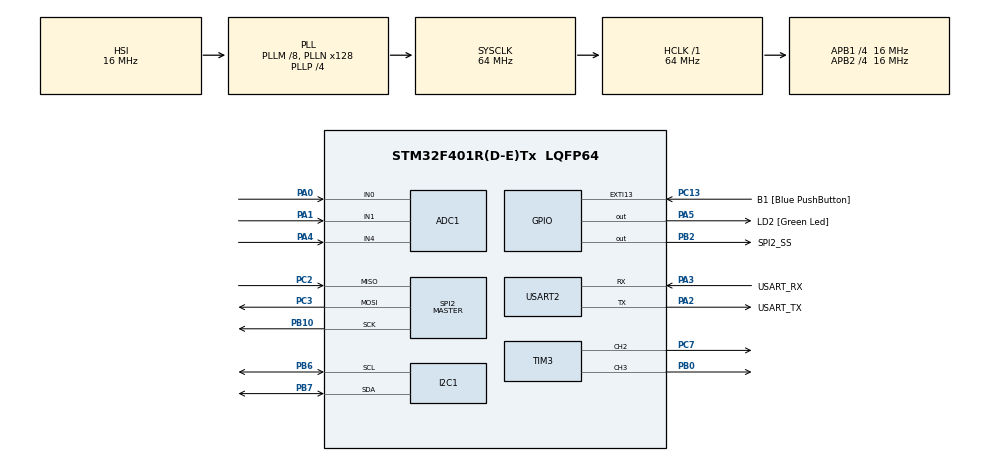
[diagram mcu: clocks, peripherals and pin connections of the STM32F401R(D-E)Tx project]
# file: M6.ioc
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ADC1.Channel-0\#ChannelRegularConversion=ADC_CHANNEL_0
ADC1.Channel-1\#ChannelRegularConversion=ADC_CHANNEL_1
ADC1.Channel-2\#ChannelRegularConversion=ADC_CHANNEL_4
ADC1.Channel-3\#ChannelRegularConversion=ADC_CHANNEL_TEMPSENSOR
ADC1.Channel-4\#ChannelRegularConversion=ADC_CHANNEL_VREFINT
ADC1.ContinuousConvMode=DISABLE
ADC1.InjNumberOfConversion=0
ADC1.NbrOfConversion=5
ADC1.NbrOfConversionFlag=1
ADC1.Rank-0\#ChannelRegularConversion=1
ADC1.Rank-1\#ChannelRegularConversion=2
ADC1.Rank-2\#ChannelRegularConversion=3
ADC1.Rank-3\#ChannelRegularConversion=4
ADC1.Rank-4\#ChannelRegularConversion=5
ADC1.SamplingTime-0\#ChannelRegularConversion=ADC_SAMPLETIME_3CYCLES
ADC1.SamplingTime-1\#ChannelRegularConversion=ADC_SAMPLETIME_3CYCLES
ADC1.SamplingTime-2\#ChannelRegularConversion=ADC_SAMPLETIME_3CYCLES
ADC1.SamplingTime-3\#ChannelRegularConversion=ADC_SAMPLETIME_3CYCLES
ADC1.SamplingTime-4\#ChannelRegularConversion=ADC_SAMPLETIME_3CYCLES
ADC1.ScanConvMode=ENABLE
ADC1.master=1
Mcu.Family=STM32F4
Mcu.Name=STM32F401R(D-E)Tx
Mcu.Package=LQFP64
NVIC.PriorityGroup=NVIC_PRIORITYGROUP_4
PA0-WKUP.Signal=ADCx_IN0
PA1.Signal=ADCx_IN1
PA13.GPIO_Label=TMS
PA13.Mode=Trace_Asynchronous_SW
PA13.Signal=SYS_JTMS-SWDIO
PA14.GPIO_Label=TCK
PA14.Mode=Trace_Asynchronous_SW
PA14.Signal=SYS_JTCK-SWCLK
PA2.GPIO_Label=USART_TX
PA2.GPIO_Mode=GPIO_MODE_AF_PP
PA2.GPIO_PuPd=GPIO_NOPULL
PA2.GPIO_Speed=GPIO_SPEED_FREQ_LOW
PA2.Mode=Asynchronous
PA2.Signal=USART2_TX
PA3.GPIO_Label=USART_RX
PA3.GPIO_Mode=GPIO_MODE_AF_PP
PA3.GPIO_PuPd=GPIO_NOPULL
PA3.GPIO_Speed=GPIO_SPEED_FREQ_LOW
PA3.Mode=Asynchronous
PA3.Signal=USART2_RX
PA4.Signal=ADCx_IN4
PA5.GPIO_Label=LD2 [Green Led]
PA5.GPIO_Mode=GPIO_MODE_OUTPUT_PP
PA5.GPIO_PuPd=GPIO_NOPULL
PA5.GPIO_Speed=GPIO_SPEED_FREQ_LOW
PA5.Signal=GPIO_Output
PB0.Signal=S_TIM3_CH3
PB10.Mode=Full_Duplex_Master
PB10.Signal=SPI2_SCK
PB2.GPIO_Label=SPI2_SS
PB2.Signal=GPIO_Output
PB3.GPIO_Label=SWO
PB3.Mode=Trace_Asynchronous_SW
PB3.Signal=SYS_JTDO-SWO
PB6.Mode=I2C
PB6.Signal=I2C1_SCL
PB7.Mode=I2C
PB7.Signal=I2C1_SDA
PC13-ANTI_TAMP.GPIO_Label=B1 [Blue PushButton]
PC13-ANTI_TAMP.GPIO_ModeDefaultEXTI=GPIO_MODE_IT_FALLING
PC13-ANTI_TAMP.GPIO_PuPd=GPIO_NOPULL
PC13-ANTI_TAMP.Signal=GPXTI13
PC14-OSC32_IN.Mode=LSE-External-Oscillator
PC14-OSC32_IN.Signal=RCC_OSC32_IN
PC15-OSC32_OUT.Mode=LSE-External-Oscillator
PC15-OSC32_OUT.Signal=RCC_OSC32_OUT
PC2.Mode=Full_Duplex_Master
PC2.Signal=SPI2_MISO
PC3.Mode=Full_Duplex_Master
PC3.Signal=SPI2_MOSI
PC7.Signal=S_TIM3_CH2
PH0\ -\ OSC_IN.Mode=HSE-External-Oscillator
PH0\ -\ OSC_IN.Signal=RCC_OSC_IN
PH1\ -\ OSC_OUT.Mode=HSE-External-Oscillator
PH1\ -\ OSC_OUT.Signal=RCC_OSC_OUT
ProjectManager.HeapSize=0x200
ProjectManager.StackSize=0x400
ProjectManager.TargetToolchain=STM32CubeIDE
RCC.48MHZClocksFreq_Value=36571428.571428575
RCC.AHBFreq_Value=64000000
RCC.APB1CLKDivider=RCC_HCLK_DIV4
RCC.APB1Freq_Value=16000000
RCC.APB1TimFreq_Value=32000000
RCC.APB2CLKDivider=RCC_HCLK_DIV4
RCC.APB2Freq_Value=16000000
RCC.APB2TimFreq_Value=32000000
RCC.CortexFreq_Value=64000000
RCC.HCLKFreq_Value=64000000
RCC.HSE_VALUE=8000000
RCC.HSI_VALUE=16000000
RCC.PLLM=8
RCC.PLLN=128
RCC.PLLP=RCC_PLLP_DIV4
RCC.PLLQ=7
RCC.SYSCLKFreq_VALUE=64000000
RCC.SYSCLKSource=RCC_SYSCLKSOURCE_PLLCLK
RCC.VCOOutputFreq_Value=256000000
SH.ADCx_IN0.0=ADC1_IN0,IN0
SH.ADCx_IN1.0=ADC1_IN1,IN1
SH.ADCx_IN4.0=ADC1_IN4,IN4
SH.S_TIM3_CH2.0=TIM3_CH2,PWM Generation2 CH2
SH.S_TIM3_CH3.0=TIM3_CH3,PWM Generation3 CH3
SPI2.BaudRatePrescaler=SPI_BAUDRATEPRESCALER_128
SPI2.Direction=SPI_DIRECTION_2LINES
SPI2.Mode=SPI_MODE_MASTER
SPI2.VirtualType=VM_MASTER
TIM3.Channel-PWM\ Generation2\ CH2=TIM_CHANNEL_2
TIM3.Channel-PWM\ Generation3\ CH3=TIM_CHANNEL_3
USART2.VirtualMode=VM_ASYNC
VP_ADC1_TempSens_Input.Mode=IN-TempSens
VP_ADC1_Vref_Input.Mode=IN-Vrefint
VP_TIM1_VS_ClockSourceINT.Mode=Internal
board=NUCLEO-F401RE

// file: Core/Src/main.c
/* USER CODE BEGIN Header */
/**
  ******************************************************************************
  * @file           : main.c
  * @brief          : Main program body
  ******************************************************************************
  * @attention
  *
  * Copyright (c) 2025 STMicroelectronics.
  * All rights reserved.
  *
  * This software is licensed under terms that can be found in the LICENSE file
  * in the root directory of this software component.
  * If no LICENSE file comes with this software, it is provided AS-IS.
  *
  ******************************************************************************
  */
/* ----------------------------------------------------------------------------
--                                                                           --
--              ECEN 5803 Mastering Embedded System Architecture             --
--                  Project 1 Module 6                                       --
--                Microcontroller Firmware                                   --
--                                                                           --
-------------------------------------------------------------------------------
--
--  Designed for:  University of Colorado at Boulder
--            by:  Ibrahim Muadh & Varun Shah
--
-- Version: 1.0
-- Date of current revision:  2025-10-12
-- Target Microcontroller: ST STM32F401RE
-- Tools used:  STMCubeMX Configurator
--              STMCubeIDE and GCC Compiler
--              Keil MDK IDE and Keil Version 6 ARM Clang compiler
--              ST Nucleo STM32F401RE Board
-- --
-- Functional Description: Create a bare metal Cyclic Executive (Super-Loop)
--                          to calculate the flow given voretex frequency
--                          samples from the ADC. Do the following tasks in
--                          the while(1) loop:
--                          1.  Send UART Messages to the PC (Debug monitor)
--                              Include Flow, Frequency, and Temperature info
--                          2.  Print Flow, Frequency, and Temperature info to
--                              the LCD over a SPI port
--                          3.  Read the ADC for flow information
--                          4.  Read the ADC temperature sensor for temperature
--                              and also the reference voltage as a check
--                          5.  Generate a 4-20 mA output on a PWM channel with
--                              rate proportional to flow
--                          6.  Generate a pulse output using a PWM channel with
--                              rate propotional to vortex frequency
--                          7.  Blink the LED at a rate proportional to vortex
--                              frequency
--                          8.  Read the DS1631 temperature sensor on I2C
--                              (optional)
--
-- System initialization has been created using STMCubeMX. Your task is to
--  complete the code where indicated
--
--   Caution:  Make sure ST-LINK is the chosen debugger with either IDE
--             Be sure to set optimization to -O0
--             If using STM32CubeIDE, be sure to define STM32CUBE
--             If using KEIL, do not define STM32CUBE
--             This compiler switch necessary to control printf
--	GOOD LUCK!
--
--
--      Copyright (c) 2025 University of Colorado  All rights reserved.
--
*/
/* USER CODE END Header */
#include "main.h"
#include "freq_detect.h"
#include "adc_data.h"
float freq_hz = 0.0f;
float flow_gpm_val = 0.0f;
float temp_c = 0.0f;

/* USER CODE BEGIN Includes */
#ifdef ENABLE_SPI
#include "nhd_0216hz.h"
#endif
#include <stdio.h>

#include "stm32f4xx.h"                  // Device header

#define MAIN
#include "shared.h"
#undef MAIN
/* USER CODE END Includes */

ADC_HandleTypeDef hadc1;

I2C_HandleTypeDef hi2c1;

SPI_HandleTypeDef hspi2;

TIM_HandleTypeDef htim1;
TIM_HandleTypeDef htim3;

UART_HandleTypeDef huart2;

/* USER CODE BEGIN PV */
ADC_HandleTypeDef hadc1;

//#ifdef ENABLE_I2C
I2C_HandleTypeDef hi2c1;
//#endif

#ifdef ENABLE_SPI
SPI_HandleTypeDef hspi2;
TIM_HandleTypeDef htim1;
#endif

TIM_HandleTypeDef htim3;

#ifdef ENABLE_UART
UART_HandleTypeDef huart2;
#endif

#ifdef ENABLE_I2C
//I2C address of temperature sensor DS1631
const int temp_addr = 0x90;

// Array storing the Start Convert T command and the Read Temperature command.
char cmd[] = {0x51, 0xAA};

// Array to store the 16-bit temperature data read from the sensor.
char read_temp[2];
#endif
/* USER CODE END PV */

void SystemClock_Config(void);
static void MX_GPIO_Init(void);
static void MX_ADC1_Init(void);
static void MX_I2C1_Init(void);
static void MX_SPI2_Init(void);
static void MX_TIM3_Init(void);
static void MX_USART2_UART_Init(void);
static void MX_TIM1_Init(void);
/* USER CODE BEGIN PFP */
void SystemClock_Config(void);
static void MX_GPIO_Init(void);
static void MX_ADC1_Init(void);
#ifdef ENABLE_I2C
static void MX_I2C1_Init(void);
#endif
#ifdef ENABLE_SPI
static void MX_SPI2_Init(void);
static void MX_TIM1_Init(void);
#endif
static void MX_TIM3_Init(void);
#ifdef ENABLE_UART
static void MX_USART2_UART_Init(void);
#endif
/* USER CODE END PFP */

/* USER CODE BEGIN 0 */
#ifdef ENABLE_UART
#ifdef STM32CUBE
// Redirect printf to UART
int __io_putchar(int ch)
{
	HAL_UART_Transmit(&huart2, (uint8_t *)&ch, 1, HAL_MAX_DELAY);
	return ch;
}
#else
// Redirect printf to UART
int stdout_putchar(int ch,FILE *f)
{
	HAL_UART_Transmit(&huart2, (uint8_t *)&ch, 1, HAL_MAX_DELAY);
	return ch;
}
#endif
#endif

volatile uint32_t timeTicks = 0;                            /* counts  timeTicks */
/*----------------------------------------------------------------------------
 * SysTick_Handler:
 *----------------------------------------------------------------------------*/
void SysTick_Handler(void) {
	timer0();
    timeTicks++;
	if (timeTicks > 9)
	{
	   HAL_IncTick();  // Adjust HAL_IncTick to 1 ms for all HAL driver timing
	   timeTicks = 0;
	}
}

/*----------------------------------------------------------------------------
 * main: Create Scheduler, Debug Monitor and Blink LED
 *----------------------------------------------------------------------------*/
/* USER CODE END 0 */

int main(void)
{

  /* MCU Configuration--------------------------------------------------------*/

  /* Reset of all peripherals, Initializes the Flash interface and the Systick. */
  HAL_Init();

  /* Configure the system clock */
  SystemClock_Config();

  /* USER CODE BEGIN SysInit */
  /* Configure the system clock */
  SystemClock_Config();
/****************      ECEN 5803 add code as indicated   **********************/
               //  Add code to call timer0 function every 100 uS

  SysTick_Config(SystemCoreClock / 10000 );/* SysTick now 100 usec interrupts */
	                                         // was 1 s
//  HAL_SuspendTick (void )
  /* USER CODE END SysInit */

  /* Initialize all configured peripherals */
  MX_GPIO_Init();
  MX_ADC1_Init();
  MX_I2C1_Init();
  MX_SPI2_Init();
  MX_TIM3_Init();

  /* Start PWM on TIM3 CH2 (PB5) and CH3 (PB0) */
  HAL_TIM_PWM_Start(&htim3, TIM_CHANNEL_2);
  HAL_TIM_PWM_Start(&htim3, TIM_CHANNEL_3);

  /* Set a safe initial duty on both channels */
  __HAL_TIM_SET_AUTORELOAD(&htim3, 4000);     // period
  __HAL_TIM_SET_COMPARE(&htim3, TIM_CHANNEL_2, 1000);
  __HAL_TIM_SET_COMPARE(&htim3, TIM_CHANNEL_3, 1000);

  MX_USART2_UART_Init();
  MX_TIM1_Init();
  /* USER CODE BEGIN 2 */
  MX_GPIO_Init();
  MX_ADC1_Init();
#ifdef ENABLE_I2C
	MX_I2C1_Init();
#endif
#ifdef ENABLE_SPI
	MX_SPI2_Init();
	MX_TIM1_Init();
#endif
  MX_TIM3_Init();
#ifdef ENABLE_UART
	MX_USART2_UART_Init();
#endif
#ifdef ENABLE_SPI
	HAL_TIM_Base_Start(&htim1); //start counter in free running mode
	init_spi();// initializes the SPI interface
	init_lcd();// initializes the LCD display
	print_lcd("Welcome to");// printing the string to the LCD
	set_cursor(0,1); // moving the cursor to the second line of the LCD
	print_lcd("5803-MESA!!");// printing another string to the LCD
#endif
  /* USER CODE END 2 */

  /* Infinite loop */
  /* USER CODE BEGIN WHILE */
  while (1)
  {

#ifdef ENABLE_I2C
/****************      ECEN 5803 add code as indicated   **********************/
//  Add code here to read the DS1631 temperature sensor if desired (not require)
//  as a comparison to the ADC temp sensor

#endif

/*************  Initialization  *************/

 // Print the initial banner
#ifdef ENABLE_UART
    printf("\r\nHello World!\n\n\r");
#endif
    uint32_t  count = 0;

// initialize serial buffer pointers
   rx_in_ptr =  rx_buf; /* pointer to the receive in data */
   rx_out_ptr = rx_buf; /* pointer to the receive out data*/
   tx_in_ptr =  tx_buf; /* pointer to the transmit in data*/
   tx_out_ptr = tx_buf; /* pointer to the transmit out */

/****************      ECEN 5803 add code as indicated   **********************/
    // uncomment this section after adding monitor code.
   /* send a starting message to the terminal  */

   UART_direct_msg_put((const unsigned char *)"\r\nSystem Reset\r\nCode ver. ");
   UART_direct_msg_put((const unsigned char *) CODE_VERSION );
   UART_direct_msg_put((const unsigned char *)"\r\n");
   UART_direct_msg_put( (const unsigned char *)COPYRIGHT );
   UART_direct_msg_put((const unsigned char *)"\r\n");

   set_display_mode();

/****************      ECEN 5803 add code as indicated   **********************/
//                        Start ADC

    while(1)
	{

    serial();            // Polls the serial port
    chk_UART_msg();     // checks for a serial port message received
    monitor();           // Sends serial port output messages depending
                         //  on commands received and display mode

/****************      ECEN 5803 add code as indicated   **********************/
//  readADC()

    if (adc_flag) {
        adc_flag = 0;

        uint16_t raw16 = adc_sample();          // from adc_data.c
        uint16_t raw12 = raw16 >> 4;            // keep top 12 bits
        float sample   = ((float)raw12 - 2048.0f) / 2048.0f;

        /* Feed one sample at 10 kHz to estimator */
        freq_hz = freq_estimate(sample);
    }

    HAL_ADC_Start(&hadc1);
    HAL_ADC_PollForConversion(&hadc1, HAL_MAX_DELAY);
    uint32_t adc_temp = HAL_ADC_GetValue(&hadc1);

    // Convert ADC to °C using STM32 internal-sensor formula
    float temp_c = (adc_temp * 3.3f / 4095.0f - 0.76f) / 0.0025f + 25.0f;

    // --- 4. Calculate flow in GPM ---
    float flow_gpm = flow_calculate(freq_hz, temp_c);
    flow_gpm_val = flow_gpm;

    // --- 5. PWM outputs ---
    //     Channel 2: proportional to flow (4–20 mA simulation)
    //     Channel 3: proportional to vortex frequency pulse output
    __HAL_TIM_SET_COMPARE(&htim3, TIM_CHANNEL_2, (uint32_t)(flow_gpm * 10));
    __HAL_TIM_SET_COMPARE(&htim3, TIM_CHANNEL_3, (uint32_t)(freq_hz * 2));

    // --- 6. LCD Display ---
    #ifdef ENABLE_SPI
    set_cursor(0, 0);
    char line1[16];
    snprintf(line1, sizeof(line1), "F:%.1fHz", freq_hz);
    print_lcd(line1);

    set_cursor(0, 1);
    char line2[16];
    snprintf(line2, sizeof(line2), "Q:%.1fGPM", flow_gpm);
    print_lcd(line2);
    #endif

    // --- 7. UART terminal output ---
    printf("Freq:%d Hz, Flow:%d GPM, Temp:%d C\r\n",
           (int)freq_hz, (int)flow_gpm, (int)temp_c);

    // --- 8. LED blink rate proportional to vortex frequency ---
    if (freq_hz > 0)
    {
        HAL_GPIO_TogglePin(GPIOA, GPIO_PIN_5);  // Nucleo green LED
        HAL_Delay((uint32_t)(500.0f / (freq_hz / 500.0f + 1.0f))); // adaptive blink
    }

//   calculate ADC temperature
/*  Temperature (in �C) = {(VSENSE � V25) / Avg_Slope} + 25
Where:  � V25 = VSENSE value for 25� C
        � Avg_Slope = average slope of the temperature vs. VSENSE curve
        (given in mV/�C or �V/�C)
Refer to the datasheet�s electrical characteristics section for the actual
values of V25 and Avg_Slope.
*/

//  calculate flow()

//  4-20 output ()    // use PWM channel output proportional pulse rate to flow

//  Pulse output()   // use PWM channel output propotional pulse rate to frequency

//  LCD_Display()   // use the SPI port to send flow number

//  Blink the LED at a rate proportional to vortex frequency using timer0 code
//   to control the blinking rate

//  Write your code here for any additional tasks

      }
    count++;                  // counts the number of times through the loop

		HAL_Delay(1000);

    /* USER CODE END WHILE */

  }
}

void SystemClock_Config(void)
{
  RCC_OscInitTypeDef RCC_OscInitStruct = {0};
  RCC_ClkInitTypeDef RCC_ClkInitStruct = {0};

  /** Configure the main internal regulator output voltage
  */
  __HAL_RCC_PWR_CLK_ENABLE();
  __HAL_PWR_VOLTAGESCALING_CONFIG(PWR_REGULATOR_VOLTAGE_SCALE2);

  /** Initializes the RCC Oscillators according to the specified parameters
  * in the RCC_OscInitTypeDef structure.
  */
  RCC_OscInitStruct.OscillatorType = RCC_OSCILLATORTYPE_HSI;
  RCC_OscInitStruct.HSIState = RCC_HSI_ON;
  RCC_OscInitStruct.HSICalibrationValue = RCC_HSICALIBRATION_DEFAULT;
  RCC_OscInitStruct.PLL.PLLState = RCC_PLL_ON;
  RCC_OscInitStruct.PLL.PLLSource = RCC_PLLSOURCE_HSI;
  RCC_OscInitStruct.PLL.PLLM = 8;
  RCC_OscInitStruct.PLL.PLLN = 128;
  RCC_OscInitStruct.PLL.PLLP = RCC_PLLP_DIV4;
  RCC_OscInitStruct.PLL.PLLQ = 7;
  if (HAL_RCC_OscConfig(&RCC_OscInitStruct) != HAL_OK)
  {
    Error_Handler();
  }

  /** Initializes the CPU, AHB and APB buses clocks
  */
  RCC_ClkInitStruct.ClockType = RCC_CLOCKTYPE_HCLK|RCC_CLOCKTYPE_SYSCLK
                              |RCC_CLOCKTYPE_PCLK1|RCC_CLOCKTYPE_PCLK2;
  RCC_ClkInitStruct.SYSCLKSource = RCC_SYSCLKSOURCE_PLLCLK;
  RCC_ClkInitStruct.AHBCLKDivider = RCC_SYSCLK_DIV1;
  RCC_ClkInitStruct.APB1CLKDivider = RCC_HCLK_DIV4;
  RCC_ClkInitStruct.APB2CLKDivider = RCC_HCLK_DIV4;

  if (HAL_RCC_ClockConfig(&RCC_ClkInitStruct, FLASH_LATENCY_2) != HAL_OK)
  {
    Error_Handler();
  }
}

static void MX_ADC1_Init(void)
{

  ADC_ChannelConfTypeDef sConfig = {0};

  /** Configure the global features of the ADC (Clock, Resolution, Data Alignment and number of conversion)
  */
  hadc1.Instance = ADC1;
  hadc1.Init.ClockPrescaler = ADC_CLOCK_SYNC_PCLK_DIV2;
  hadc1.Init.Resolution = ADC_RESOLUTION_12B;
  hadc1.Init.ScanConvMode = ENABLE;
  hadc1.Init.ContinuousConvMode = DISABLE;
  hadc1.Init.DiscontinuousConvMode = DISABLE;
  hadc1.Init.ExternalTrigConvEdge = ADC_EXTERNALTRIGCONVEDGE_NONE;
  hadc1.Init.ExternalTrigConv = ADC_SOFTWARE_START;
  hadc1.Init.DataAlign = ADC_DATAALIGN_RIGHT;
  hadc1.Init.NbrOfConversion = 3;
  hadc1.Init.DMAContinuousRequests = DISABLE;
  hadc1.Init.EOCSelection = ADC_EOC_SINGLE_CONV;
  if (HAL_ADC_Init(&hadc1) != HAL_OK)
  {
    Error_Handler();
  }

  /** Configure for the selected ADC regular channel its corresponding rank in the sequencer and its sample time.
  */
  // Rank 1: PA1 (ADC_CHANNEL_1)
  sConfig.Channel = ADC_CHANNEL_1;
  sConfig.Rank = 1;
  sConfig.SamplingTime = ADC_SAMPLETIME_3CYCLES;
  if (HAL_ADC_ConfigChannel(&hadc1, &sConfig) != HAL_OK) { Error_Handler(); }

  // Rank 2: internal temperature sensor
  sConfig.Channel = ADC_CHANNEL_TEMPSENSOR;
  sConfig.Rank = 2;
  sConfig.SamplingTime = ADC_SAMPLETIME_84CYCLES;   // longer for temp sensor
  if (HAL_ADC_ConfigChannel(&hadc1, &sConfig) != HAL_OK) { Error_Handler(); }

  // Rank 3: internal VREFINT
  sConfig.Channel = ADC_CHANNEL_VREFINT;
  sConfig.Rank = 3;
  sConfig.SamplingTime = ADC_SAMPLETIME_3CYCLES;
  if (HAL_ADC_ConfigChannel(&hadc1, &sConfig) != HAL_OK) { Error_Handler(); }

}

static void MX_I2C1_Init(void)
{

  hi2c1.Instance = I2C1;
  hi2c1.Init.ClockSpeed = 100000;
  hi2c1.Init.DutyCycle = I2C_DUTYCYCLE_2;
  hi2c1.Init.OwnAddress1 = 0;
  hi2c1.Init.AddressingMode = I2C_ADDRESSINGMODE_7BIT;
  hi2c1.Init.DualAddressMode = I2C_DUALADDRESS_DISABLE;
  hi2c1.Init.OwnAddress2 = 0;
  hi2c1.Init.GeneralCallMode = I2C_GENERALCALL_DISABLE;
  hi2c1.Init.NoStretchMode = I2C_NOSTRETCH_DISABLE;
  if (HAL_I2C_Init(&hi2c1) != HAL_OK)
  {
    Error_Handler();
  }

}

static void MX_SPI2_Init(void)
{

  /* SPI2 parameter configuration*/
  hspi2.Instance = SPI2;
  hspi2.Init.Mode = SPI_MODE_MASTER;
  hspi2.Init.Direction = SPI_DIRECTION_2LINES;
  hspi2.Init.DataSize = SPI_DATASIZE_8BIT;
  hspi2.Init.CLKPolarity = SPI_POLARITY_LOW;
  hspi2.Init.CLKPhase = SPI_PHASE_1EDGE;
  hspi2.Init.NSS = SPI_NSS_SOFT;
  hspi2.Init.BaudRatePrescaler = SPI_BAUDRATEPRESCALER_128;
  hspi2.Init.FirstBit = SPI_FIRSTBIT_MSB;
  hspi2.Init.TIMode = SPI_TIMODE_DISABLE;
  hspi2.Init.CRCCalculation = SPI_CRCCALCULATION_DISABLE;
  hspi2.Init.CRCPolynomial = 10;
  if (HAL_SPI_Init(&hspi2) != HAL_OK)
  {
    Error_Handler();
  }

}

static void MX_TIM1_Init(void)
{

  TIM_ClockConfigTypeDef sClockSourceConfig = {0};
  TIM_MasterConfigTypeDef sMasterConfig = {0};

  htim1.Instance = TIM1;
  htim1.Init.Prescaler = 0;
  htim1.Init.CounterMode = TIM_COUNTERMODE_UP;
  htim1.Init.Period = 65535;
  htim1.Init.ClockDivision = TIM_CLOCKDIVISION_DIV1;
  htim1.Init.RepetitionCounter = 0;
  htim1.Init.AutoReloadPreload = TIM_AUTORELOAD_PRELOAD_DISABLE;
  if (HAL_TIM_Base_Init(&htim1) != HAL_OK)
  {
    Error_Handler();
  }
  sClockSourceConfig.ClockSource = TIM_CLOCKSOURCE_INTERNAL;
  if (HAL_TIM_ConfigClockSource(&htim1, &sClockSourceConfig) != HAL_OK)
  {
    Error_Handler();
  }
  sMasterConfig.MasterOutputTrigger = TIM_TRGO_RESET;
  sMasterConfig.MasterSlaveMode = TIM_MASTERSLAVEMODE_DISABLE;
  if (HAL_TIMEx_MasterConfigSynchronization(&htim1, &sMasterConfig) != HAL_OK)
  {
    Error_Handler();
  }

}

static void MX_TIM3_Init(void)
{

  TIM_MasterConfigTypeDef sMasterConfig = {0};
  TIM_OC_InitTypeDef sConfigOC = {0};

  htim3.Instance = TIM3;
  htim3.Init.Prescaler = 0;
  htim3.Init.CounterMode = TIM_COUNTERMODE_UP;
  htim3.Init.Period = 65535;
  htim3.Init.ClockDivision = TIM_CLOCKDIVISION_DIV1;
  htim3.Init.AutoReloadPreload = TIM_AUTORELOAD_PRELOAD_DISABLE;
  if (HAL_TIM_PWM_Init(&htim3) != HAL_OK)
  {
    Error_Handler();
  }
  sMasterConfig.MasterOutputTrigger = TIM_TRGO_RESET;
  sMasterConfig.MasterSlaveMode = TIM_MASTERSLAVEMODE_DISABLE;
  if (HAL_TIMEx_MasterConfigSynchronization(&htim3, &sMasterConfig) != HAL_OK)
  {
    Error_Handler();
  }
  sConfigOC.OCMode = TIM_OCMODE_PWM1;
  sConfigOC.Pulse = 0;
  sConfigOC.OCPolarity = TIM_OCPOLARITY_HIGH;
  sConfigOC.OCFastMode = TIM_OCFAST_DISABLE;
  if (HAL_TIM_PWM_ConfigChannel(&htim3, &sConfigOC, TIM_CHANNEL_2) != HAL_OK)
  {
    Error_Handler();
  }
  if (HAL_TIM_PWM_ConfigChannel(&htim3, &sConfigOC, TIM_CHANNEL_3) != HAL_OK)
  {
    Error_Handler();
  }
  HAL_TIM_MspPostInit(&htim3);

}

static void MX_USART2_UART_Init(void)
{

  huart2.Instance = USART2;
  huart2.Init.BaudRate = 115200;
  huart2.Init.WordLength = UART_WORDLENGTH_8B;
  huart2.Init.StopBits = UART_STOPBITS_1;
  huart2.Init.Parity = UART_PARITY_NONE;
  huart2.Init.Mode = UART_MODE_TX_RX;
  huart2.Init.HwFlowCtl = UART_HWCONTROL_NONE;
  huart2.Init.OverSampling = UART_OVERSAMPLING_16;
  if (HAL_UART_Init(&huart2) != HAL_OK)
  {
    Error_Handler();
  }

}

static void MX_GPIO_Init(void)
{
  GPIO_InitTypeDef GPIO_InitStruct = {0};

  /* GPIO Ports Clock Enable */
  __HAL_RCC_GPIOC_CLK_ENABLE();
  __HAL_RCC_GPIOH_CLK_ENABLE();
  __HAL_RCC_GPIOA_CLK_ENABLE();
  __HAL_RCC_GPIOB_CLK_ENABLE();

  /*Configure GPIO pin Output Level */
  HAL_GPIO_WritePin(LD2_GPIO_Port, LD2_Pin, GPIO_PIN_RESET);

  /*Configure GPIO pin Output Level */
  HAL_GPIO_WritePin(SPI2_SS_GPIO_Port, SPI2_SS_Pin, GPIO_PIN_RESET);

  /*Configure GPIO pin : B1_Pin */
  GPIO_InitStruct.Pin = B1_Pin;
  GPIO_InitStruct.Mode = GPIO_MODE_IT_FALLING;
  GPIO_InitStruct.Pull = GPIO_NOPULL;
  HAL_GPIO_Init(B1_GPIO_Port, &GPIO_InitStruct);

  /*Configure GPIO pin : LD2_Pin */
  GPIO_InitStruct.Pin = LD2_Pin;
  GPIO_InitStruct.Mode = GPIO_MODE_OUTPUT_PP;
  GPIO_InitStruct.Pull = GPIO_NOPULL;
  GPIO_InitStruct.Speed = GPIO_SPEED_FREQ_LOW;
  HAL_GPIO_Init(LD2_GPIO_Port, &GPIO_InitStruct);

  /*Configure GPIO pin : SPI2_SS_Pin */
  GPIO_InitStruct.Pin = SPI2_SS_Pin;
  GPIO_InitStruct.Mode = GPIO_MODE_OUTPUT_PP;
  GPIO_InitStruct.Pull = GPIO_NOPULL;
  GPIO_InitStruct.Speed = GPIO_SPEED_FREQ_LOW;
  HAL_GPIO_Init(SPI2_SS_GPIO_Port, &GPIO_InitStruct);

  /* USER CODE BEGIN MX_GPIO_Init_2 */
  /* Configure PA1 (ADC1_IN1) as Analog, no pull */
    GPIO_InitStruct.Pin = GPIO_PIN_1;
    GPIO_InitStruct.Mode = GPIO_MODE_ANALOG;
    GPIO_InitStruct.Pull = GPIO_NOPULL;
    HAL_GPIO_Init(GPIOA, &GPIO_InitStruct);
  /* USER CODE END MX_GPIO_Init_2 */
}

void Error_Handler(void)
{
  __disable_irq();
  while (1)
  {
  }
}
